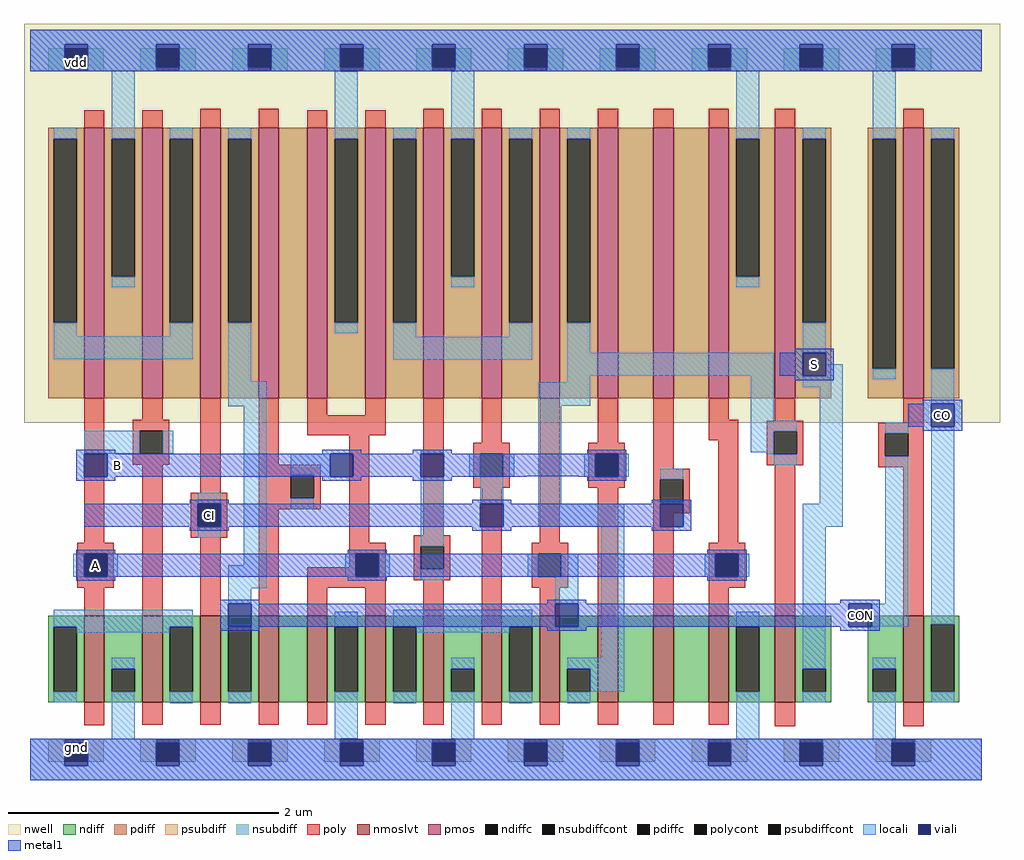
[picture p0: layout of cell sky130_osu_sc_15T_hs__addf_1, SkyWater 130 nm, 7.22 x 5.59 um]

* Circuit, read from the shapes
.subckt sky130_osu_sc_15T_hs__addf_1 A CI B CON S CO
XM1 gnd A n1 gnd sky130_fd_pr__nfet_01v8_lvt w=0.64 l=0.15
XM2 n1 B gnd gnd sky130_fd_pr__nfet_01v8_lvt w=0.64 l=0.15
XM3 CON CI n1 gnd sky130_fd_pr__nfet_01v8_lvt w=0.64 l=0.15
XM4 n2 B CON gnd sky130_fd_pr__nfet_01v8_lvt w=0.64 l=0.15
XM5 gnd A n2 gnd sky130_fd_pr__nfet_01v8_lvt w=0.64 l=0.15
XM6 n3 A gnd gnd sky130_fd_pr__nfet_01v8_lvt w=0.64 l=0.15
XM7 gnd B n3 gnd sky130_fd_pr__nfet_01v8_lvt w=0.64 l=0.15
XM8 n3 CI gnd gnd sky130_fd_pr__nfet_01v8_lvt w=0.64 l=0.15
XM9 n4 CON n3 gnd sky130_fd_pr__nfet_01v8_lvt w=0.64 l=0.15
XM10 n5 B n4 gnd sky130_fd_pr__nfet_01v8_lvt w=0.64 l=0.15
XM11 n6 CI n5 gnd sky130_fd_pr__nfet_01v8_lvt w=0.64 l=0.15
XM12 gnd A n6 gnd sky130_fd_pr__nfet_01v8_lvt w=0.64 l=0.15
XM13 S n4 gnd gnd sky130_fd_pr__nfet_01v8_lvt w=0.64 l=0.15
XM14 CO CON gnd gnd sky130_fd_pr__nfet_01v8_lvt w=0.64 l=0.15
XM15 vdd A n7 vdd sky130_fd_pr__pfet_01v8 w=2 l=0.15
XM16 n7 B vdd vdd sky130_fd_pr__pfet_01v8 w=2 l=0.15
XM17 CON CI n7 vdd sky130_fd_pr__pfet_01v8 w=2 l=0.15
XM18 n8 B CON vdd sky130_fd_pr__pfet_01v8 w=2 l=0.15
XM19 vdd A n8 vdd sky130_fd_pr__pfet_01v8 w=2 l=0.15
XM20 n9 A vdd vdd sky130_fd_pr__pfet_01v8 w=2 l=0.15
XM21 vdd B n9 vdd sky130_fd_pr__pfet_01v8 w=2 l=0.15
XM22 n9 CI vdd vdd sky130_fd_pr__pfet_01v8 w=2 l=0.15
XM23 n4 CON n9 vdd sky130_fd_pr__pfet_01v8 w=2 l=0.15
XM24 n10 B n4 vdd sky130_fd_pr__pfet_01v8 w=2 l=0.15
XM25 n11 CI n10 vdd sky130_fd_pr__pfet_01v8 w=2 l=0.15
XM26 vdd A n11 vdd sky130_fd_pr__pfet_01v8 w=2 l=0.15
XM27 S n4 vdd vdd sky130_fd_pr__pfet_01v8 w=2 l=0.15
XM28 CO CON vdd vdd sky130_fd_pr__pfet_01v8 w=2 l=0.15
.ends

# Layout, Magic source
magic
tech sky130A
magscale 1 2
<< nwell >>
rect -9 529 1435 1119
<< pmos >>
rect 80 565 110 965
rect 166 565 196 965
rect 252 565 282 965
rect 338 565 368 965
rect 410 565 440 965
rect 496 565 526 965
rect 582 565 612 965
rect 668 565 698 965
rect 754 565 784 965
rect 840 565 870 965
rect 922 565 952 965
rect 1004 565 1034 965
rect 1102 565 1132 965
rect 1292 565 1322 965
<< nmoslvt >>
rect 80 115 110 243
rect 166 115 196 243
rect 252 115 282 243
rect 338 115 368 243
rect 410 115 440 243
rect 496 115 526 243
rect 582 115 612 243
rect 668 115 698 243
rect 754 115 784 243
rect 840 115 870 243
rect 922 115 952 243
rect 1004 115 1034 243
rect 1102 115 1132 243
rect 1292 115 1322 243
<< ndiff >>
rect 27 227 80 243
rect 27 131 35 227
rect 69 131 80 227
rect 27 115 80 131
rect 110 165 166 243
rect 110 131 121 165
rect 155 131 166 165
rect 110 115 166 131
rect 196 227 252 243
rect 196 131 207 227
rect 241 131 252 227
rect 196 115 252 131
rect 282 227 338 243
rect 282 131 293 227
rect 327 131 338 227
rect 282 115 338 131
rect 368 115 410 243
rect 440 227 496 243
rect 440 131 451 227
rect 485 131 496 227
rect 440 115 496 131
rect 526 227 582 243
rect 526 131 537 227
rect 571 131 582 227
rect 526 115 582 131
rect 612 165 668 243
rect 612 131 623 165
rect 657 131 668 165
rect 612 115 668 131
rect 698 227 754 243
rect 698 131 709 227
rect 743 131 754 227
rect 698 115 754 131
rect 784 165 840 243
rect 784 131 795 165
rect 829 131 840 165
rect 784 115 840 131
rect 870 115 922 243
rect 952 115 1004 243
rect 1034 227 1102 243
rect 1034 131 1045 227
rect 1079 131 1102 227
rect 1034 115 1102 131
rect 1132 165 1185 243
rect 1132 131 1143 165
rect 1177 131 1185 165
rect 1132 115 1185 131
rect 1239 165 1292 243
rect 1239 131 1247 165
rect 1281 131 1292 165
rect 1239 115 1292 131
rect 1322 231 1375 243
rect 1322 131 1333 231
rect 1367 131 1375 231
rect 1322 115 1375 131
<< pdiff >>
rect 27 949 80 965
rect 27 677 35 949
rect 69 677 80 949
rect 27 565 80 677
rect 110 949 166 965
rect 110 745 121 949
rect 155 745 166 949
rect 110 565 166 745
rect 196 949 252 965
rect 196 677 207 949
rect 241 677 252 949
rect 196 565 252 677
rect 282 949 338 965
rect 282 677 293 949
rect 327 677 338 949
rect 282 565 338 677
rect 368 565 410 965
rect 440 949 496 965
rect 440 677 451 949
rect 485 677 496 949
rect 440 565 496 677
rect 526 949 582 965
rect 526 677 537 949
rect 571 677 582 949
rect 526 565 582 677
rect 612 949 668 965
rect 612 745 623 949
rect 657 745 668 949
rect 612 565 668 745
rect 698 949 754 965
rect 698 677 709 949
rect 743 677 754 949
rect 698 565 754 677
rect 784 949 840 965
rect 784 677 795 949
rect 829 677 840 949
rect 784 565 840 677
rect 870 565 922 965
rect 952 565 1004 965
rect 1034 949 1102 965
rect 1034 745 1045 949
rect 1079 745 1102 949
rect 1034 565 1102 745
rect 1132 949 1185 965
rect 1132 677 1143 949
rect 1177 677 1185 949
rect 1132 565 1185 677
rect 1239 949 1292 965
rect 1239 609 1247 949
rect 1281 609 1292 949
rect 1239 565 1292 609
rect 1322 949 1375 965
rect 1322 609 1333 949
rect 1367 609 1375 949
rect 1322 565 1375 609
<< ndiffc >>
rect 35 131 69 227
rect 121 131 155 165
rect 207 131 241 227
rect 293 131 327 227
rect 451 131 485 227
rect 537 131 571 227
rect 623 131 657 165
rect 709 131 743 227
rect 795 131 829 165
rect 1045 131 1079 227
rect 1143 131 1177 165
rect 1247 131 1281 165
rect 1333 131 1367 231
<< pdiffc >>
rect 35 677 69 949
rect 121 745 155 949
rect 207 677 241 949
rect 293 677 327 949
rect 451 677 485 949
rect 537 677 571 949
rect 623 745 657 949
rect 709 677 743 949
rect 795 677 829 949
rect 1045 745 1079 949
rect 1143 677 1177 949
rect 1247 609 1281 949
rect 1333 609 1367 949
<< psubdiff >>
rect 27 27 51 61
rect 85 27 109 61
rect 163 27 187 61
rect 221 27 245 61
rect 299 27 323 61
rect 357 27 381 61
rect 435 27 459 61
rect 493 27 517 61
rect 571 27 595 61
rect 629 27 653 61
rect 707 27 731 61
rect 765 27 789 61
rect 843 27 867 61
rect 901 27 925 61
rect 979 27 1003 61
rect 1037 27 1061 61
rect 1115 27 1139 61
rect 1173 27 1197 61
rect 1251 27 1275 61
rect 1309 27 1333 61
<< nsubdiff >>
rect 27 1049 51 1083
rect 85 1049 109 1083
rect 163 1049 187 1083
rect 221 1049 245 1083
rect 299 1049 323 1083
rect 357 1049 381 1083
rect 435 1049 459 1083
rect 493 1049 517 1083
rect 571 1049 595 1083
rect 629 1049 653 1083
rect 707 1049 731 1083
rect 765 1049 789 1083
rect 843 1049 867 1083
rect 901 1049 925 1083
rect 979 1049 1003 1083
rect 1037 1049 1061 1083
rect 1115 1049 1139 1083
rect 1173 1049 1197 1083
rect 1251 1049 1275 1083
rect 1309 1049 1333 1083
<< psubdiffcont >>
rect 51 27 85 61
rect 187 27 221 61
rect 323 27 357 61
rect 459 27 493 61
rect 595 27 629 61
rect 731 27 765 61
rect 867 27 901 61
rect 1003 27 1037 61
rect 1139 27 1173 61
rect 1275 27 1309 61
<< nsubdiffcont >>
rect 51 1049 85 1083
rect 187 1049 221 1083
rect 323 1049 357 1083
rect 459 1049 493 1083
rect 595 1049 629 1083
rect 731 1049 765 1083
rect 867 1049 901 1083
rect 1003 1049 1037 1083
rect 1139 1049 1173 1083
rect 1275 1049 1309 1083
<< poly >>
rect 80 965 110 991
rect 166 965 196 991
rect 252 965 282 993
rect 338 965 368 993
rect 410 965 440 991
rect 496 965 526 991
rect 582 965 612 993
rect 668 965 698 993
rect 754 965 784 993
rect 840 965 870 993
rect 922 965 952 993
rect 1004 965 1034 993
rect 1102 965 1132 993
rect 1292 965 1322 993
rect 80 351 110 565
rect 166 533 196 565
rect 152 517 206 533
rect 152 483 162 517
rect 196 483 206 517
rect 152 467 206 483
rect 70 335 124 351
rect 70 301 80 335
rect 114 301 124 335
rect 70 285 124 301
rect 80 243 110 285
rect 166 243 196 467
rect 252 425 282 565
rect 338 467 368 565
rect 410 540 440 565
rect 496 540 526 565
rect 410 510 526 540
rect 338 451 430 467
rect 238 409 292 425
rect 238 375 248 409
rect 282 375 292 409
rect 238 359 292 375
rect 338 417 386 451
rect 420 417 430 451
rect 338 401 430 417
rect 252 243 282 359
rect 338 243 368 401
rect 472 351 502 510
rect 582 362 612 565
rect 668 499 698 565
rect 656 483 710 499
rect 656 449 666 483
rect 700 449 710 483
rect 656 433 710 449
rect 472 335 526 351
rect 472 315 482 335
rect 410 301 482 315
rect 516 301 526 335
rect 410 285 526 301
rect 568 346 622 362
rect 568 312 578 346
rect 612 312 622 346
rect 568 296 622 312
rect 410 243 440 285
rect 496 243 526 285
rect 582 243 612 296
rect 668 243 698 433
rect 754 351 784 565
rect 840 499 870 565
rect 826 483 880 499
rect 826 449 836 483
rect 870 449 880 483
rect 826 433 880 449
rect 922 461 952 565
rect 1004 533 1034 565
rect 1004 503 1048 533
rect 1102 532 1132 565
rect 922 445 976 461
rect 742 335 796 351
rect 742 301 752 335
rect 786 301 796 335
rect 742 285 796 301
rect 754 243 784 285
rect 840 243 870 433
rect 922 411 932 445
rect 966 411 976 445
rect 922 395 976 411
rect 922 243 952 395
rect 1018 351 1048 503
rect 1090 516 1144 532
rect 1292 529 1322 565
rect 1090 482 1100 516
rect 1134 482 1144 516
rect 1090 466 1144 482
rect 1255 513 1322 529
rect 1255 479 1265 513
rect 1299 479 1322 513
rect 1004 335 1058 351
rect 1004 301 1014 335
rect 1048 301 1058 335
rect 1004 285 1058 301
rect 1004 243 1034 285
rect 1102 243 1132 466
rect 1255 463 1322 479
rect 1292 243 1322 463
rect 80 81 110 115
rect 166 82 196 115
rect 252 82 282 115
rect 338 82 368 115
rect 410 82 440 115
rect 496 82 526 115
rect 582 82 612 115
rect 668 82 698 115
rect 754 82 784 115
rect 840 82 870 115
rect 922 82 952 115
rect 1004 82 1034 115
rect 1102 80 1132 115
rect 1292 80 1322 115
<< polycont >>
rect 162 483 196 517
rect 80 301 114 335
rect 248 375 282 409
rect 386 417 420 451
rect 666 449 700 483
rect 482 301 516 335
rect 578 312 612 346
rect 836 449 870 483
rect 752 301 786 335
rect 932 411 966 445
rect 1100 482 1134 516
rect 1265 479 1299 513
rect 1014 301 1048 335
<< locali >>
rect 0 1089 1408 1110
rect 0 1049 51 1089
rect 85 1049 187 1089
rect 221 1049 323 1089
rect 357 1049 459 1089
rect 493 1049 595 1089
rect 629 1049 731 1089
rect 765 1049 867 1089
rect 901 1049 1003 1089
rect 1037 1049 1139 1089
rect 1173 1049 1275 1089
rect 1309 1049 1408 1089
rect 35 949 69 965
rect 121 949 155 1049
rect 121 729 155 745
rect 207 949 241 965
rect 35 657 69 677
rect 207 657 241 677
rect 35 623 241 657
rect 293 949 327 965
rect 293 590 327 677
rect 451 949 485 1049
rect 451 661 485 677
rect 537 949 571 965
rect 623 949 657 1049
rect 623 729 657 745
rect 709 949 743 965
rect 537 656 571 677
rect 709 656 743 677
rect 537 622 743 656
rect 795 949 829 965
rect 1045 949 1079 1049
rect 1045 729 1079 745
rect 1143 949 1177 965
rect 795 632 829 677
rect 1143 632 1177 677
rect 795 598 1100 632
rect 293 553 350 590
rect 795 589 829 598
rect 80 483 162 517
rect 196 483 212 517
rect 248 409 282 425
rect 248 359 282 375
rect 64 301 80 335
rect 114 301 130 335
rect 316 318 350 553
rect 752 554 829 589
rect 578 483 612 489
rect 386 451 444 483
rect 420 449 444 451
rect 650 449 666 483
rect 700 449 716 483
rect 386 401 420 417
rect 578 346 612 449
rect 666 409 700 449
rect 752 409 786 554
rect 1066 532 1100 598
rect 1247 949 1281 1049
rect 1177 598 1202 615
rect 1143 581 1202 598
rect 1247 593 1281 609
rect 1333 949 1367 965
rect 1066 516 1134 532
rect 1066 485 1100 516
rect 820 449 836 483
rect 870 449 886 483
rect 1089 482 1100 485
rect 1100 466 1134 482
rect 932 445 966 461
rect 932 409 966 411
rect 1168 409 1202 581
rect 1333 557 1367 609
rect 752 375 879 409
rect 1143 375 1202 409
rect 1265 513 1299 529
rect 293 284 350 318
rect 466 301 482 335
rect 516 301 532 335
rect 578 296 612 312
rect 736 301 752 335
rect 786 301 811 335
rect 293 261 327 284
rect 35 227 241 252
rect 69 218 207 227
rect 35 115 69 131
rect 121 165 155 181
rect 121 61 155 131
rect 207 114 241 131
rect 777 261 811 301
rect 293 114 327 131
rect 451 227 485 249
rect 451 61 485 131
rect 537 227 743 252
rect 571 218 709 227
rect 537 114 571 131
rect 623 165 657 181
rect 623 61 657 131
rect 845 181 879 375
rect 998 301 1014 335
rect 1048 301 1064 335
rect 709 114 743 131
rect 795 165 879 181
rect 829 131 879 165
rect 1045 227 1079 249
rect 795 114 829 131
rect 1045 61 1079 131
rect 1143 165 1177 375
rect 1265 261 1299 479
rect 1245 227 1299 261
rect 1333 231 1367 523
rect 1143 115 1177 131
rect 1247 165 1281 181
rect 1247 61 1281 131
rect 1333 115 1367 131
rect 0 21 51 61
rect 85 21 187 61
rect 221 21 323 61
rect 357 21 459 61
rect 493 21 595 61
rect 629 21 731 61
rect 765 21 867 61
rect 901 21 1003 61
rect 1037 21 1139 61
rect 1173 21 1275 61
rect 1309 21 1408 61
rect 0 0 1408 21
<< viali >>
rect 51 1083 85 1089
rect 51 1055 85 1083
rect 187 1083 221 1089
rect 187 1055 221 1083
rect 323 1083 357 1089
rect 323 1055 357 1083
rect 459 1083 493 1089
rect 459 1055 493 1083
rect 595 1083 629 1089
rect 595 1055 629 1083
rect 731 1083 765 1089
rect 731 1055 765 1083
rect 867 1083 901 1089
rect 867 1055 901 1083
rect 1003 1083 1037 1089
rect 1003 1055 1037 1083
rect 1139 1083 1173 1089
rect 1139 1055 1173 1083
rect 1275 1083 1309 1089
rect 1275 1055 1309 1083
rect 80 449 114 483
rect 248 375 282 409
rect 80 301 114 335
rect 444 449 478 483
rect 578 449 612 483
rect 666 375 700 409
rect 1143 598 1177 632
rect 836 449 870 483
rect 932 375 966 409
rect 482 301 516 335
rect 293 227 327 261
rect 777 227 811 261
rect 1014 301 1048 335
rect 1211 227 1245 261
rect 1333 523 1367 557
rect 51 27 85 55
rect 51 21 85 27
rect 187 27 221 55
rect 187 21 221 27
rect 323 27 357 55
rect 323 21 357 27
rect 459 27 493 55
rect 459 21 493 27
rect 595 27 629 55
rect 595 21 629 27
rect 731 27 765 55
rect 731 21 765 27
rect 867 27 901 55
rect 867 21 901 27
rect 1003 27 1037 55
rect 1003 21 1037 27
rect 1139 27 1173 55
rect 1139 21 1173 27
rect 1275 27 1309 55
rect 1275 21 1309 27
<< metal1 >>
rect 0 1089 1408 1110
rect 0 1055 51 1089
rect 85 1055 187 1089
rect 221 1055 323 1089
rect 357 1055 459 1089
rect 493 1055 595 1089
rect 629 1055 731 1089
rect 765 1055 867 1089
rect 901 1055 1003 1089
rect 1037 1055 1139 1089
rect 1173 1055 1275 1089
rect 1309 1055 1408 1089
rect 0 1049 1408 1055
rect 1131 632 1189 638
rect 1109 598 1143 632
rect 1177 598 1189 632
rect 1131 592 1189 598
rect 1321 557 1379 563
rect 1299 523 1333 557
rect 1367 523 1379 557
rect 1321 517 1379 523
rect 68 483 126 489
rect 432 483 490 489
rect 566 483 624 489
rect 824 483 882 489
rect 68 449 80 483
rect 114 449 444 483
rect 478 449 578 483
rect 612 450 836 483
rect 612 449 734 450
rect 812 449 836 450
rect 870 449 882 483
rect 68 443 126 449
rect 432 443 490 449
rect 566 443 624 449
rect 824 443 882 449
rect 236 409 294 415
rect 654 409 712 415
rect 920 409 978 415
rect 80 375 248 409
rect 282 375 666 409
rect 700 375 932 409
rect 966 375 978 409
rect 236 369 294 375
rect 654 369 712 375
rect 920 369 978 375
rect 68 335 126 341
rect 470 335 528 341
rect 1002 335 1060 341
rect 68 301 80 335
rect 114 301 482 335
rect 516 301 1014 335
rect 1048 301 1060 335
rect 68 295 126 301
rect 470 295 528 301
rect 1002 295 1060 301
rect 281 261 339 267
rect 765 261 823 267
rect 1199 261 1257 267
rect 281 227 293 261
rect 327 227 777 261
rect 811 227 1211 261
rect 1245 227 1257 261
rect 281 221 339 227
rect 765 221 823 227
rect 1199 221 1257 227
rect 0 55 1408 61
rect 0 21 51 55
rect 85 21 187 55
rect 221 21 323 55
rect 357 21 459 55
rect 493 21 595 55
rect 629 21 731 55
rect 765 21 867 55
rect 901 21 1003 55
rect 1037 21 1139 55
rect 1173 21 1275 55
rect 1309 21 1408 55
rect 0 0 1408 21
<< labels >>
rlabel viali 97 318 97 318 1 A
port 1 n
rlabel viali 265 392 265 392 1 CI
port 2 n
rlabel metal1 129 466 129 466 1 B
port 3 n
rlabel viali 1160 615 1160 615 1 S
port 5 n
rlabel viali 1350 540 1350 540 1 CO
port 6 n
rlabel viali 68 48 68 48 1 gnd
rlabel viali 68 1062 68 1062 1 vdd
rlabel viali 1228 244 1228 244 1 CON
port 4 n
<< end >>
